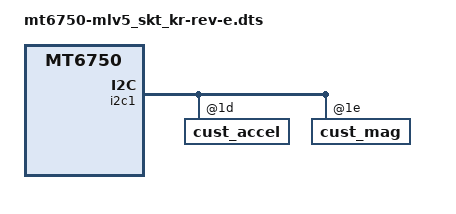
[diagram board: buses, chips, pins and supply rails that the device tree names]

/dts-v1/;

#include "../muse6750_hdk_n_lge.dtsi"

#include "../mt6750-common.dtsi"
#include "mt6750-mlv5_skt_kr-power.dtsi"
#include "mt6750-mlv5_skt_kr-panel.dtsi"
#include "mt6750-mlv5_skt_kr-touch.dtsi"
#include "mt6750-mlv5_skt_kr-sensor.dtsi"
#include "mt6750-mlv5_skt_kr-fingerprint.dtsi"
#include "mt6750-mlv5_skt_kr-misc.dtsi"
#include "mt6750-mlv5_skt_kr-sound.dtsi"
#include "mt6750-mlv5_skt_kr-nfc.dtsi"
#include "mt6750-mlv5_skt_kr-common.dtsi"
#include "mt6750-mlv5_skt_kr-usb.dtsi"
#include "mt6750-mlv5_skt_kr-camera.dtsi"
#include "mt6750-mlv5_skt_kr-tdmb.dtsi"

/ {
	/*
	typedef enum {
		HW_REV_0 = 0,
		HW_REV_0_1,
		HW_REV_A,
		HW_REV_B,
		HW_REV_C,
		HW_REV_D,
		HW_REV_E,
		HW_REV_1_0,
		HW_REV_1_1,
		HW_REV_MAX
	} rev_type;
	*/
	lge,pcb_revision = <0x6>; // rev_e
};

&i2c1 {
	cust_accel@1d {
		direction = <2>;
	};

	cust_mag@1e {
		direction = <2>;
	};
};

&bat_meter {
	/* cust_battery_meter.h */
	r_charger_2 = <51 >;
};
